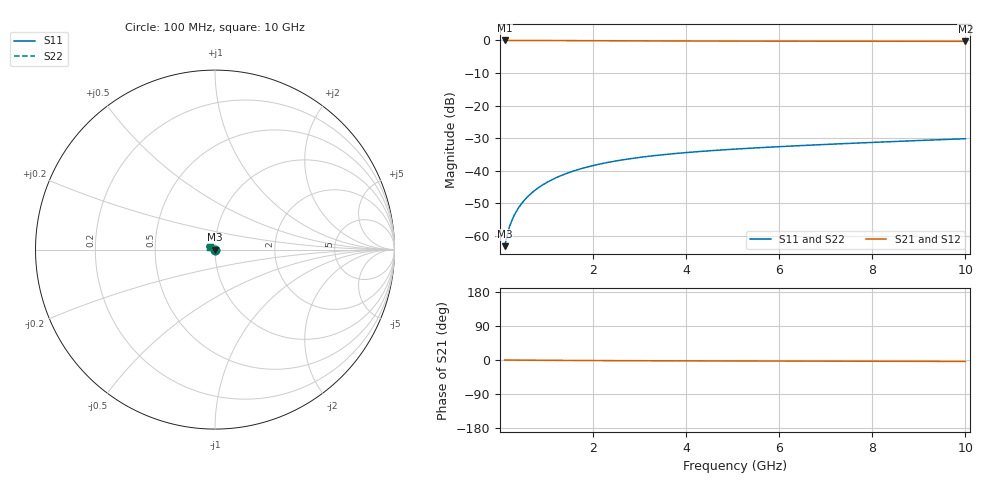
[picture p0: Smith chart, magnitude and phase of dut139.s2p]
! Touchstone file exported from HFSS 2024.1.0
!  File:  C:/UserFiles/LocalFiles/RDL_TSV_Batchsim/temp_TSV1_139_1779380255.aedt
!  Generated:  12:24:43 AM May 22, 2026
!  Design:  TSV1
!  Project:  temp_TSV1_139_1779380255
!  Setup:  Setup1
!  Solution:  Sweep
! Variables:
!  dtsv = 8.79um
!  hbump = 3um
!  htsv = 53.7um
!  lrdl = 252.1521522um
!  p = 40
!  p1 = 57.39um
!  t = 500um
!  trdl = 3um
!  wrdl = 24.89489489um
# GHz S MA R 50.000000
! Terminal data exported
! Port[1] = TSV22_T1
! Port[2] = TSV22_T2
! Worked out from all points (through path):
!   100 points, 100 MHz to 10 GHz, reference 50 ohm
!   highest |S21| = 0.00 dB at 100 MHz (marker M1); lowest = -0.3 dB at 10 GHz (marker M2)
!   lowest |S11| = -63.1 dB at 100 MHz (marker M3), VSWR 1.00, Z = 50 - j0.0686 ohm
!   |S11| at or under -10 dB: start of sweep to end of sweep
!   |S22| runs from -63.1 to -30.2 dB; largest |S21 - S12| = 1e-14
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0.1  0.0006961 -79.9  0.9998 -0.1  0.9998 -0.1  0.0006961 -79.9
! Gamma 0 0 0 0
! Port Impedance 50 0 50 0
0.2  0.001367 -88.4  0.9997 -0.2  0.9997 -0.2  0.001367 -88.4
0.3  0.00204 -92.8  0.9996 -0.3  0.9996 -0.3  0.00204 -92.8
0.4  0.00271 -96.1  0.9994 -0.3  0.9994 -0.3  0.00271 -96.1
0.5  0.003375 -99.0  0.9991 -0.4  0.9991 -0.4  0.003375 -99.0
0.6  0.004034 -101.7  0.9988 -0.5  0.9988 -0.5  0.004034 -101.7
0.7  0.004685 -104.2  0.9985 -0.6  0.9985 -0.6  0.004685 -104.2
0.8  0.005326 -106.7  0.9981 -0.7  0.9981 -0.7  0.005326 -106.7
0.9  0.005957 -109.0  0.9976 -0.8  0.9976 -0.8  0.005957 -109.0
1.1  0.007184 -113.6  0.9967 -0.9  0.9967 -0.9  0.007184 -113.6
1.4  0.008925 -120.0  0.995 -1.1  0.995 -1.1  0.008925 -120.0
1.6  0.01001 -124.1  0.9939 -1.2  0.9939 -1.2  0.01001 -124.1
1.8  0.01104 -128.0  0.9927 -1.4  0.9927 -1.4  0.01104 -128.0
2.1  0.01247 -133.6  0.9909 -1.5  0.9909 -1.5  0.01247 -133.6
2.5  0.01418 -140.5  0.9885 -1.7  0.9885 -1.7  0.01418 -140.5
2.9  0.01568 -146.8  0.9863 -1.9  0.9863 -1.9  0.01568 -146.8
3.4  0.01732 -154.1  0.9838 -2.0  0.9838 -2.0  0.01732 -154.1
4.2  0.01952 -164.2  0.9804 -2.3  0.9804 -2.3  0.01952 -164.2
5.1  0.0216 -173.8  0.9775 -2.5  0.9775 -2.5  0.0216 -173.8
6.7  0.02479 172.3  0.974 -2.9  0.974 -2.9  0.02479 172.3
8.4  0.02798 160.8  0.9716 -3.4  0.9716 -3.4  0.02798 160.8
10  0.03104 152.1  0.97 -3.8  0.97 -3.8  0.03104 152.1
